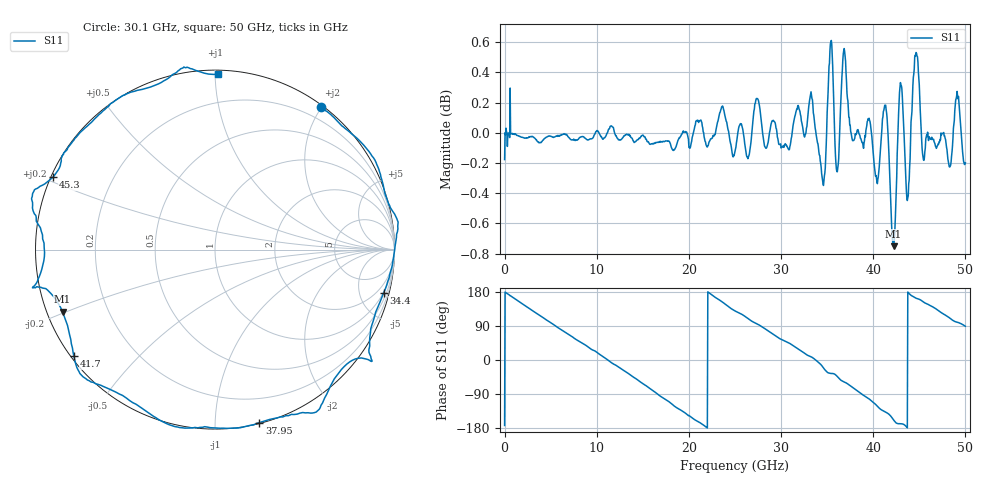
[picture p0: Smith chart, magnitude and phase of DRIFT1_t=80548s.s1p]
!Created with skrf (http://scikit-rf.org).
# Hz S RI R 50.0
!freq ReS11 ImS11
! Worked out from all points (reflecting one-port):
!   1001 points, 300 kHz to 50 GHz, reference 50 ohm
!   lowest |S11| = -0.8 dB at 42.2 GHz (marker M1), VSWR 23.16, Z = 2.24 - j9.77 ohm
!   phase of S11 starts at -173 deg and turns -818 deg over the sweep
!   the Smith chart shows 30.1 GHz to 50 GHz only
!   S11 on the Smith chart (normalised r, x): 30.1 GHz: 0.03, +1.99; 34.4 GHz: 0.98, -7.82; 37.95 GHz: 0.01, -1.29; 41.7 GHz: 0.01, -0.33; 45.3 GHz: 0.01, +0.21; 50 GHz: 0.02, +1.02
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300000  -0.9721 -0.1223
1.450291e9  -0.9124 0.4039
3.25028e9  -0.5932 0.8001
6.250262e9  0.1984 0.9786
9.500243e9  0.8871 0.452
1.250022e10  0.9305 -0.3517
1.580021e10  0.243 -0.961
1.73502e10  -0.2105 -0.9708
1.875019e10  -0.5982 -0.7926
2.165017e10  -0.9892 -0.123
2.345016e10  -0.9304 0.4118
2.500015e10  -0.6278 0.7605
2.745014e10  -0.0825 1.023
3.010012e10  0.5897 0.7945
3.125011e10  0.7815 0.6285
3.31501e10  1.013 0.1727
3.440009e10  0.9391 -0.2403
3.520009e10  0.8678 -0.5948
3.750008e10  0.3773 -0.9324
3.795007e10  0.2464 -0.9642
3.960006e10  -0.2376 -0.9812
4.170005e10  -0.7868 -0.592
4.220005e10  -0.8495 -0.3458
4.290004e10  -1.013 -0.2128
4.375004e10  -0.9517 0.0101
4.530003e10  -0.9016 0.4047
4.765001e10  -0.5133 0.8584
5e10  0.018 0.9772
